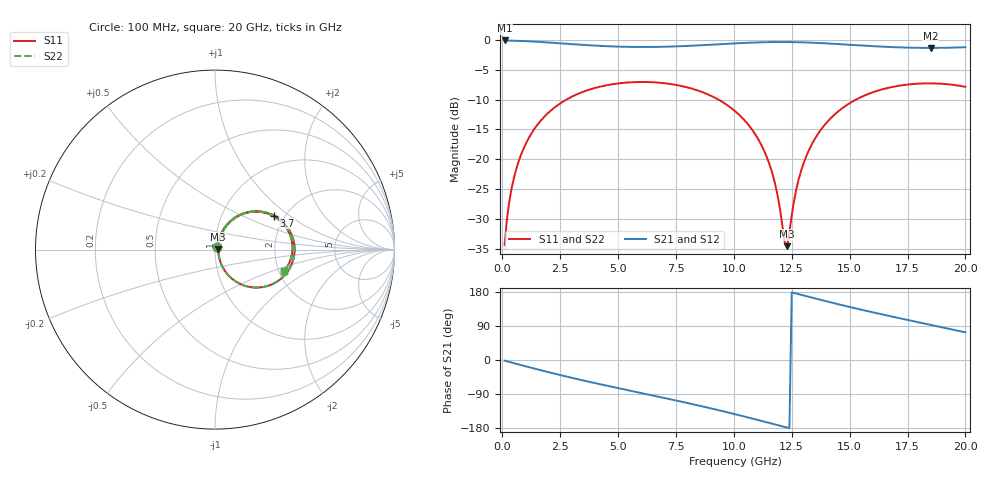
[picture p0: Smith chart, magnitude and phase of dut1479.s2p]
! Touchstone file exported from HFSS 2026.1.0
!  File:  C:/ffzhzh/LocalFiles/Ansys_Project_Files/temp_train_TSV_RDL_1479_1783362627_4416.aedt
!  Generated:  02:43:43 AM Jul  7, 2026
!  Design:  TSV_RDL
!  Project:  temp_train_TSV_RDL_1479_1783362627_4416
! Variables:
!  h_bsmrdl = 5.75um
!  h_ox = 20um
!  h_rdl = 5um
!  h_sub = 70.12um
!  h_tmrdl = 5.36um
!  h_tsv = 70.12um
!  h_via = 3um
!  l_bsmrdl = 642.84um
!  l_sub = 5098.4um
!  l_tmrdl = 648.43um
!  m_sub = 200um
!  pitch = 53.51um
!  r_tsv = 7.82um
!  s_tmrdl = 10um
!  w_bsmrdl = 29.42um
!  w_sub = 500um
!  w_tmrdl = 29.3um
!  x_tsv_center1 = 663.08um
!  x_tsv_center2 = 1335.34um
!  x_tsv_center3 = 2013.07um
!  x_tsv_center4 = 2685.33um
!  x_tsv_center5 = 3363.06um
!  x_tsv_center6 = 4035.32um
# GHz S MA R 50.000000
! Terminal data exported
! Port[1] = TM_RDL1_1_T1
! Port[2] = TM_RDL5_1_T1
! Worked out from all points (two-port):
!   200 points, 100 MHz to 20 GHz, reference 50 ohm
!   highest |S21| = -0.11 dB at 100 MHz (marker M1); lowest = -1.4 dB at 18.5 GHz (marker M2)
!   |S21| within 3 dB of the highest: start of sweep to end of sweep
!   lowest |S11| = -34.5 dB at 12.3 GHz (marker M3), VSWR 1.04, Z = 51.9 + j0.427 ohm
!   |S11| at or under -10 dB: start of sweep to 2.772 GHz; 9.328 GHz to 15.28 GHz (5.951 GHz wide, 48.4 % of centre)
!   |S22| runs from -34.6 to -7.1 dB; largest |S21 - S12| = 1.8e-14
!   S11 on the Smith chart (normalised r, x): 100 MHz: 1.03, +0.03; 3.7 GHz: 1.76, +0.78; 20 GHz: 2.14, -0.61
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0.1  0.01922 48.9  0.9877 -1.7  0.9877 -1.7  0.01922 48.9
! Gamma 0 0 0 0
! Port Impedance 50 0 50 0
0.3  0.04401 66.6  0.9853 -5.1  0.9853 -5.1  0.04401 66.6
0.5  0.06956 69.5  0.9831 -8.3  0.9831 -8.3  0.06956 69.5
1.1  0.1452 65.4  0.973 -18.1  0.973 -18.1  0.1452 65.4
2.1  0.2561 51.9  0.9467 -33.7  0.9467 -33.7  0.2561 51.9
3.5  0.3678 32.6  0.9064 -54.0  0.9064 -54.0  0.3678 32.6
3.7  0.3796 29.9  0.9014 -56.8  0.9014 -56.8  0.3796 29.9
5.3  0.4374 9.4  0.8741 -78.1  0.8741 -78.1  0.4374 9.4
6.8  0.4372 -9.3  0.8732 -97.6  0.8732 -97.6  0.4371 -9.3
8.5  0.3732 -31.0  0.8988 -120.4  0.8988 -120.4  0.3731 -31.1
10.1  0.2483 -52.3  0.9349 -143.7  0.9349 -143.7  0.2483 -52.3
10.9  0.1645 -62.1  0.9496 -156.1  0.9496 -156.1  0.1645 -62.2
11.5  0.09535 -66.7  0.9565 -165.6  0.9565 -165.6  0.09531 -66.8
11.8  0.06009 -64.7  0.9581 -170.3  0.9581 -170.3  0.06004 -64.8
12.2  0.01998 -22.7  0.9584 -176.8  0.9584 -176.8  0.01993 -22.6
12.3  0.01873 12.7  0.9581 -178.4  0.9581 -178.4  0.0187 12.8
12.8  0.06779 66.3  0.9545 173.7  0.9545 173.7  0.06783 66.4
13.4  0.1371 65.1  0.946 164.2  0.946 164.2  0.1371 65.1
14.7  0.2692 49.6  0.9168 144.4  0.9168 144.4  0.2692 49.6
16.7  0.3975 23.7  0.8711 116.3  0.8711 116.3  0.3976 23.7
18.5  0.432 1.5  0.8554 92.7  0.8554 92.7  0.432 1.4
20  0.404 -17.1  0.867 73.0  0.867 73.0  0.404 -17.1
